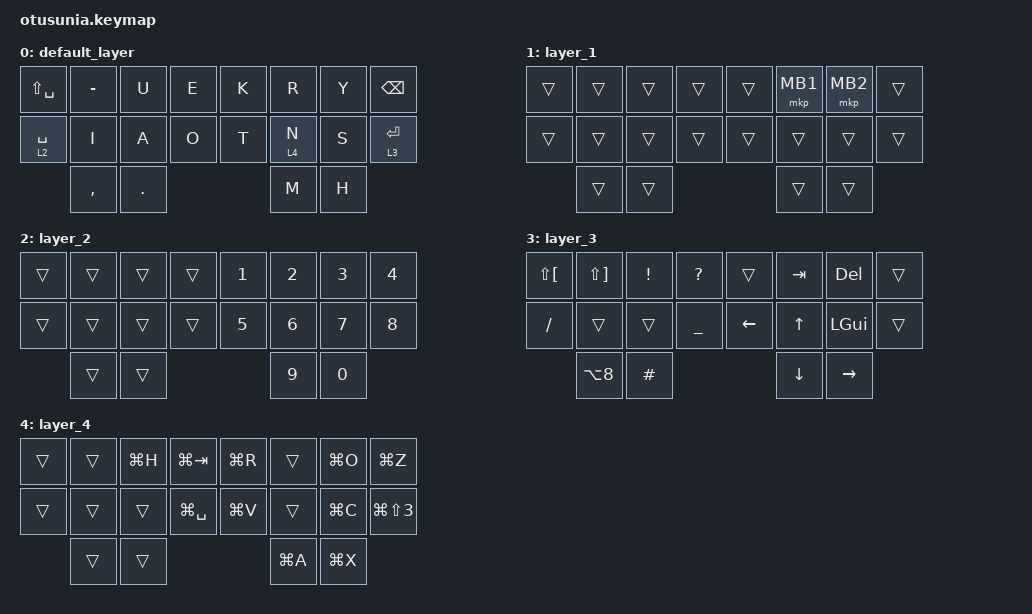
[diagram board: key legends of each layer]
#include <behaviors/mouse_keys.dtsi>
#include <dt-bindings/zmk/mouse.h>
#include <behaviors.dtsi>
#include <dt-bindings/zmk/bt.h>
#include <dt-bindings/zmk/keys.h>
#include <dt-bindings/zmk/outputs.h>
#include <dt-bindings/zmk/pointing.h>


/ {
    combos {
        compatible = "zmk,combos";

        g {
            bindings = <&kp G>;
            key-positions = <4 12>;
            layers = <0>;
        };

        d {
            bindings = <&kp D>;
            key-positions = <13 5>;
            layers = <0>;
        };

        j {
            bindings = <&kp J>;
            key-positions = <6 14>;
            layers = <0>;
        };

        b {
            bindings = <&kp B>;
            key-positions = <13 18>;
            layers = <0>;
        };

        w {
            bindings = <&kp W>;
            key-positions = <5 6>;
            layers = <0>;
        };

        z {
            bindings = <&kp Z>;
            key-positions = <14 19>;
            layers = <0>;
        };

        p {
            bindings = <&kp P>;
            key-positions = <13 14>;
            layers = <0>;
        };

        f {
            bindings = <&kp F>;
            key-positions = <5 4>;
            layers = <0>;
        };

        c {
            bindings = <&kp C>;
            key-positions = <13 12>;
            layers = <0>;
        };

        v {
            bindings = <&kp V>;
            key-positions = <18 19>;
            layers = <0>;
        };

        q {
            bindings = <&kp L>;
            key-positions = <4 12 18 13>;
        };

        l {
            bindings = <&kp Q>;
            key-positions = <13 14 6 5>;
            layers = <0>;
        };

        btclr_all {
            bindings = <&bt BT_CLR_ALL>;
            key-positions = <12 13 14 15 18 19>;
            layers = <0>;
        };

        outble2 {
            bindings = <&out OUT_BLE>;
            key-positions = <4 12 4 5 6 13 6 7 14 15>;
            layers = <0>;
        };

        x {
            bindings = <&kp X>;
            key-positions = <14 13 18 19>;
            layers = <0>;
        };

        lang2 {
            bindings = <&kp LANGUAGE_2>;
            key-positions = <0 8>;
        };
    };

    behaviors {
        mymt_behavior: mymt_behavior {
            compatible = "zmk,behavior-hold-tap";
            label = "MYMT_BEHAVIOR";
            bindings = <&kp>, <&kp>;

            #binding-cells = <2>;
            tapping-term-ms = <300>;
            flavor = "tap-preferred";
        };

        mylt_behavior: mylt_behavior {
            compatible = "zmk,behavior-hold-tap";
            label = "MYLT_BEHAVIOR";
            bindings = <&mo>, <&kp>;

            #binding-cells = <2>;
            tapping-term-ms = <300>;
            flavor = "tap-preferred";
        };
    };

    keymap {
        compatible = "zmk,keymap";

        default_layer {
            // ------------------------------------------------------------------------------------------
            // | SW1 | SW2 | SW3 | SW4 | SW5 | SW6 | SW7 | SW8 |  
            // | SW9 | SW10 | SW11 | SW12 | SW13 | SW14 | SW15 | SW16 |   
            // ------------------------------------------------------------------------------------------

            bindings = <
&kp LS(SPACE)           &kp MINUS  &kp U       &kp E  &kp K  &kp R               &kp Y  &kp BACKSPACE
&mylt_behavior 2 SPACE  &kp I      &kp A       &kp O  &kp T  &mylt_behavior 4 N  &kp S  &mylt_behavior 3 ENTER
                        &kp COMMA  &kp PERIOD                &kp M               &kp H
            >;
        };

        layer_1 {
            bindings = <
&trans  &trans  &trans  &trans  &trans  &mkp MB1  &mkp MB2  &trans
&trans  &trans  &trans  &trans  &trans  &trans    &trans    &trans
        &trans  &trans                  &trans    &trans
            >;
        };

        layer_2 {
            bindings = <
&trans  &trans  &trans  &trans  &kp N1  &kp N2  &kp N3  &kp N4
&trans  &trans  &trans  &trans  &kp N5  &kp N6  &kp N7  &kp N8
        &trans  &trans                  &kp N9  &kp N0
            >;
        };

        layer_3 {
            bindings = <
&kp LS(LEFT_BRACKET)  &kp LS(RIGHT_BRACKET)  &kp EXCLAMATION  &kp QUESTION  &trans          &kp TAB         &kp DELETE       &trans
&kp SLASH             &trans                 &trans           &kp UNDER     &kp LEFT_ARROW  &kp UP_ARROW    &kp LEFT_GUI     &trans
                      &kp LA(N8)             &kp HASH                                       &kp DOWN_ARROW  &kp RIGHT_ARROW
            >;
        };

        layer_4 {
            bindings = <
&trans  &trans  &kp LG(H)  &kp LG(TAB)    &kp LG(R)  &trans     &kp LG(O)  &kp LG(Z)
&trans  &trans  &trans     &kp LG(SPACE)  &kp LG(V)  &trans     &kp LG(C)  &kp LG(LS(N3))
        &trans  &trans                               &kp LG(A)  &kp LG(X)
            >;
        };
    };
};
